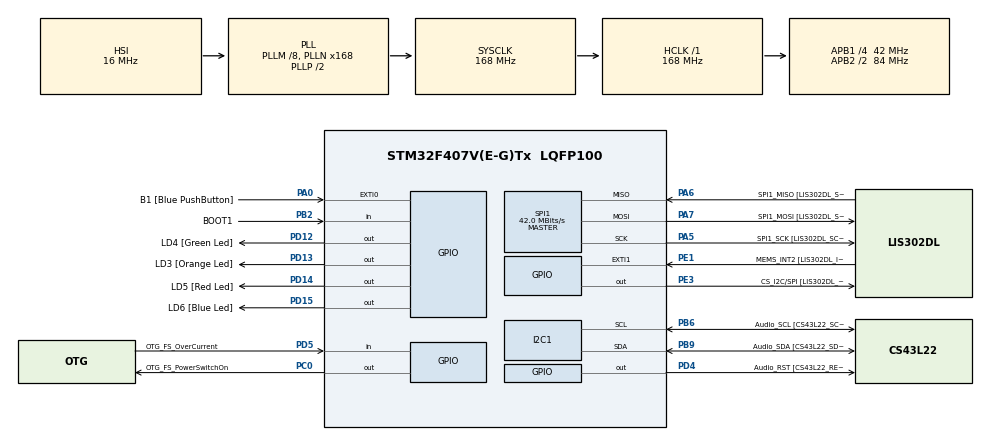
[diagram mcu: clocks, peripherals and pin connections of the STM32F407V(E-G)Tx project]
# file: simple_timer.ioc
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Mcu.Family=STM32F4
Mcu.Name=STM32F407V(E-G)Tx
Mcu.Package=LQFP100
NVIC.PriorityGroup=NVIC_PRIORITYGROUP_0
NVIC.TIM6_DAC_IRQn=true\:0\:0\:false\:false\:true\:true
PA0-WKUP.GPIO_Label=B1 [Blue PushButton]
PA0-WKUP.Signal=GPXTI0
PA10.GPIO_Label=OTG_FS_ID
PA10.GPIO_Mode=GPIO_MODE_AF_PP
PA10.GPIO_PuPd=GPIO_NOPULL
PA10.GPIO_Speed=GPIO_SPEED_FREQ_LOW
PA10.Signal=USB_OTG_FS_ID
PA11.GPIO_Label=OTG_FS_DM
PA11.GPIO_Mode=GPIO_MODE_AF_PP
PA11.GPIO_PuPd=GPIO_NOPULL
PA11.GPIO_Speed=GPIO_SPEED_FREQ_LOW
PA11.Signal=USB_OTG_FS_DM
PA12.GPIO_Label=OTG_FS_DP
PA12.GPIO_Mode=GPIO_MODE_AF_PP
PA12.GPIO_PuPd=GPIO_NOPULL
PA12.GPIO_Speed=GPIO_SPEED_FREQ_LOW
PA12.Signal=USB_OTG_FS_DP
PA13.GPIO_Label=SWDIO
PA13.Signal=SYS_JTMS-SWDIO
PA14.GPIO_Label=SWCLK
PA14.Signal=SYS_JTCK-SWCLK
PA4.GPIO_Label=I2S3_WS [CS43L22_LRCK]
PA4.GPIO_Mode=GPIO_MODE_AF_PP
PA4.GPIO_PuPd=GPIO_NOPULL
PA4.GPIO_Speed=GPIO_SPEED_FREQ_LOW
PA4.Signal=I2S3_WS
PA5.GPIO_Label=SPI1_SCK [LIS302DL_SCL/SPC]
PA5.GPIO_Mode=GPIO_MODE_AF_PP
PA5.GPIO_PuPd=GPIO_NOPULL
PA5.GPIO_Speed=GPIO_SPEED_FREQ_LOW
PA5.Mode=Full_Duplex_Master
PA5.Signal=SPI1_SCK
PA6.GPIO_Label=SPI1_MISO [LIS302DL_SDO]
PA6.GPIO_Mode=GPIO_MODE_AF_PP
PA6.GPIO_PuPd=GPIO_NOPULL
PA6.GPIO_Speed=GPIO_SPEED_FREQ_LOW
PA6.Mode=Full_Duplex_Master
PA6.Signal=SPI1_MISO
PA7.GPIO_Label=SPI1_MOSI [LIS302DL_SDA/SDI/SDO]
PA7.GPIO_Mode=GPIO_MODE_AF_PP
PA7.GPIO_PuPd=GPIO_NOPULL
PA7.GPIO_Speed=GPIO_SPEED_FREQ_LOW
PA7.Mode=Full_Duplex_Master
PA7.Signal=SPI1_MOSI
PA9.GPIO_Label=VBUS_FS
PA9.GPIO_Mode=GPIO_MODE_INPUT
PA9.GPIO_PuPd=GPIO_NOPULL
PA9.Signal=USB_OTG_FS_VBUS
PB10.GPIO_Label=CLK_IN [MP45DT02_CLK]
PB10.GPIO_Mode=GPIO_MODE_AF_PP
PB10.GPIO_PuPd=GPIO_NOPULL
PB10.GPIO_Speed=GPIO_SPEED_FREQ_LOW
PB10.Signal=I2S2_CK
PB2.GPIO_Label=BOOT1
PB2.GPIO_Mode=GPIO_MODE_INPUT
PB2.GPIO_PuPd=GPIO_NOPULL
PB2.Signal=GPIO_Input
PB3.GPIO_Label=SWO
PB3.Signal=SYS_JTDO-SWO
PB6.GPIO_Label=Audio_SCL [CS43L22_SCL]
PB6.GPIO_Mode=GPIO_MODE_AF_OD
PB6.GPIO_PuPd=GPIO_NOPULL
PB6.GPIO_Speed=GPIO_SPEED_FREQ_LOW
PB6.Mode=I2C
PB6.Signal=I2C1_SCL
PB9.GPIO_Label=Audio_SDA [CS43L22_SDA]
PB9.GPIO_Mode=GPIO_MODE_AF_OD
PB9.GPIO_PuPd=GPIO_NOPULL
PB9.GPIO_Speed=GPIO_SPEED_FREQ_LOW
PB9.Mode=I2C
PB9.Signal=I2C1_SDA
PC0.GPIO_Label=OTG_FS_PowerSwitchOn
PC0.GPIO_PuPd=GPIO_NOPULL
PC0.GPIO_Speed=GPIO_SPEED_FREQ_LOW
PC0.PinState=GPIO_PIN_SET
PC0.Signal=GPIO_Output
PC10.GPIO_Label=I2S3_SCK [CS43L22_SCLK]
PC10.GPIO_Mode=GPIO_MODE_AF_PP
PC10.GPIO_PuPd=GPIO_NOPULL
PC10.GPIO_Speed=GPIO_SPEED_FREQ_LOW
PC10.Signal=I2S3_CK
PC12.GPIO_Label=I2S3_SD [CS43L22_SDIN]
PC12.GPIO_Mode=GPIO_MODE_AF_PP
PC12.GPIO_PuPd=GPIO_NOPULL
PC12.GPIO_Speed=GPIO_SPEED_FREQ_LOW
PC12.Signal=I2S3_SD
PC14-OSC32_IN.GPIO_Label=PC14-OSC32_IN
PC14-OSC32_IN.Signal=RCC_OSC32_IN
PC15-OSC32_OUT.GPIO_Label=PC15-OSC32_OUT
PC15-OSC32_OUT.Signal=RCC_OSC32_OUT
PC3.GPIO_Label=PDM_OUT [MP45DT02_DOUT]
PC3.GPIO_Mode=GPIO_MODE_AF_PP
PC3.GPIO_PuPd=GPIO_NOPULL
PC3.GPIO_Speed=GPIO_SPEED_FREQ_LOW
PC3.Signal=I2S2_SD
PC7.GPIO_Label=I2S3_MCK [CS43L22_MCLK]
PC7.GPIO_Mode=GPIO_MODE_AF_PP
PC7.GPIO_PuPd=GPIO_NOPULL
PC7.GPIO_Speed=GPIO_SPEED_FREQ_LOW
PC7.Signal=I2S3_MCK
PD12.GPIO_Label=LD4 [Green Led]
PD12.GPIO_PuPd=GPIO_NOPULL
PD12.GPIO_Speed=GPIO_SPEED_FREQ_LOW
PD12.Signal=GPIO_Output
PD13.GPIO_Label=LD3 [Orange Led]
PD13.GPIO_PuPd=GPIO_NOPULL
PD13.GPIO_Speed=GPIO_SPEED_FREQ_LOW
PD13.Signal=GPIO_Output
PD14.GPIO_Label=LD5 [Red Led]
PD14.GPIO_PuPd=GPIO_NOPULL
PD14.GPIO_Speed=GPIO_SPEED_FREQ_LOW
PD14.Signal=GPIO_Output
PD15.GPIO_Label=LD6 [Blue Led]
PD15.GPIO_PuPd=GPIO_NOPULL
PD15.GPIO_Speed=GPIO_SPEED_FREQ_LOW
PD15.Signal=GPIO_Output
PD4.GPIO_Label=Audio_RST [CS43L22_RESET]
PD4.GPIO_PuPd=GPIO_NOPULL
PD4.GPIO_Speed=GPIO_SPEED_FREQ_LOW
PD4.Signal=GPIO_Output
PD5.GPIO_Label=OTG_FS_OverCurrent
PD5.GPIO_Mode=GPIO_MODE_INPUT
PD5.GPIO_PuPd=GPIO_NOPULL
PD5.Signal=GPIO_Input
PE1.GPIO_Label=MEMS_INT2 [LIS302DL_INT2]
PE1.GPIO_ModeDefaultEXTI=GPIO_MODE_EVT_RISING
PE1.GPIO_PuPd=GPIO_NOPULL
PE1.Signal=GPXTI1
PE3.GPIO_Label=CS_I2C/SPI [LIS302DL_CS_I2C/SPI]
PE3.GPIO_PuPd=GPIO_NOPULL
PE3.GPIO_Speed=GPIO_SPEED_FREQ_LOW
PE3.Signal=GPIO_Output
PH0-OSC_IN.GPIO_Label=PH0-OSC_IN
PH0-OSC_IN.Signal=RCC_OSC_IN
PH1-OSC_OUT.GPIO_Label=PH1-OSC_OUT
PH1-OSC_OUT.Signal=RCC_OSC_OUT
ProjectManager.HeapSize=0x200
ProjectManager.StackSize=0x400
ProjectManager.TargetToolchain=SW4STM32
RCC.48MHZClocksFreq_Value=48000000
RCC.AHBFreq_Value=168000000
RCC.APB1CLKDivider=RCC_HCLK_DIV4
RCC.APB1Freq_Value=42000000
RCC.APB1TimFreq_Value=84000000
RCC.APB2CLKDivider=RCC_HCLK_DIV2
RCC.APB2Freq_Value=84000000
RCC.APB2TimFreq_Value=168000000
RCC.CortexFreq_Value=168000000
RCC.HCLKFreq_Value=168000000
RCC.HSE_VALUE=8000000
RCC.HSI_VALUE=16000000
RCC.LSE_VALUE=32768
RCC.PLLM=8
RCC.PLLN=168
RCC.PLLQ=7
RCC.SYSCLKFreq_VALUE=168000000
RCC.SYSCLKSource=RCC_SYSCLKSOURCE_PLLCLK
RCC.VCOOutputFreq_Value=336000000
SPI1.CalculateBaudRate=42.0 MBits/s
SPI1.Direction=SPI_DIRECTION_2LINES
SPI1.Mode=SPI_MODE_MASTER
SPI1.VirtualType=VM_MASTER
VP_TIM6_VS_ClockSourceINT.Mode=Enable_Timer
board=STM32F4DISCOVERY

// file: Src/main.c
/**
  ******************************************************************************
  * File Name          : main.c
  * Description        : Main program body
  ******************************************************************************
  ** This notice applies to any and all portions of this file
  * that are not between comment pairs USER CODE BEGIN and
  * USER CODE END. Other portions of this file, whether
  * inserted by the user or by software development tools
  * are owned by their respective copyright owners.
  *
  * COPYRIGHT(c) 2017 STMicroelectronics
  *
  * Redistribution and use in source and binary forms, with or without modification,
  * are permitted provided that the following conditions are met:
  *   1. Redistributions of source code must retain the above copyright notice,
  *      this list of conditions and the following disclaimer.
  *   2. Redistributions in binary form must reproduce the above copyright notice,
  *      this list of conditions and the following disclaimer in the documentation
  *      and/or other materials provided with the distribution.
  *   3. Neither the name of STMicroelectronics nor the names of its contributors
  *      may be used to endorse or promote products derived from this software
  *      without specific prior written permission.
  *
  * THIS SOFTWARE IS PROVIDED BY THE COPYRIGHT HOLDERS AND CONTRIBUTORS "AS IS"
  * AND ANY EXPRESS OR IMPLIED WARRANTIES, INCLUDING, BUT NOT LIMITED TO, THE
  * IMPLIED WARRANTIES OF MERCHANTABILITY AND FITNESS FOR A PARTICULAR PURPOSE ARE
  * DISCLAIMED. IN NO EVENT SHALL THE COPYRIGHT HOLDER OR CONTRIBUTORS BE LIABLE
  * FOR ANY DIRECT, INDIRECT, INCIDENTAL, SPECIAL, EXEMPLARY, OR CONSEQUENTIAL
  * DAMAGES (INCLUDING, BUT NOT LIMITED TO, PROCUREMENT OF SUBSTITUTE GOODS OR
  * SERVICES; LOSS OF USE, DATA, OR PROFITS; OR BUSINESS INTERRUPTION) HOWEVER
  * CAUSED AND ON ANY THEORY OF LIABILITY, WHETHER IN CONTRACT, STRICT LIABILITY,
  * OR TORT (INCLUDING NEGLIGENCE OR OTHERWISE) ARISING IN ANY WAY OUT OF THE USE
  * OF THIS SOFTWARE, EVEN IF ADVISED OF THE POSSIBILITY OF SUCH DAMAGE.
  *
  ******************************************************************************
  */

#include "main.h"
#include "stm32f4xx_hal.h"
#include "stm32f4_discovery.h"

I2C_HandleTypeDef hi2c1;

SPI_HandleTypeDef hspi1;

TIM_HandleTypeDef htim6;

/* USER CODE BEGIN PV */
/* Private variables ---------------------------------------------------------*/

/* USER CODE END PV */

void SystemClock_Config(void);
static void MX_GPIO_Init(void);
static void MX_TIM6_Init(void);
static void MX_I2C1_Init(void);
static void MX_SPI1_Init(void);

/* USER CODE BEGIN PFP */
/* Private function prototypes -----------------------------------------------*/

/* USER CODE END PFP */

/* USER CODE BEGIN 0 */
void HAL_TIM_PeriodElapsedCallback(TIM_HandleTypeDef *htim){
	BSP_LED_Toggle(LED3);
	return;
}
/* USER CODE END 0 */

int main(void)
{

  /* MCU Configuration----------------------------------------------------------*/

  /* Reset of all peripherals, Initializes the Flash interface and the Systick. */
  HAL_Init();

  /* Configure the system clock */
  SystemClock_Config();

  /* Initialize all configured peripherals */
  MX_GPIO_Init();
  MX_TIM6_Init();
  MX_I2C1_Init();
  MX_SPI1_Init();

  /* USER CODE BEGIN 2 */
  BSP_LED_Init(LED3);
  BSP_LED_Init(LED4);
  BSP_LED_Init(LED5);
  BSP_LED_Init(LED6);

  BSP_LED_Off(LED3);
  BSP_LED_Off(LED4);
  BSP_LED_Off(LED5);
  BSP_LED_Off(LED6);
  /* USER CODE END 2 */

  /* Infinite loop */
  /* USER CODE BEGIN WHILE */
  htim6.Init.Prescaler =  (uint32_t) (SystemCoreClock / 10000) - 1;
  htim6.Init.CounterMode = TIM_COUNTERMODE_UP;
  htim6.Init.Period = 16800000/2;
  htim6.Init.ClockDivision =  TIM_CLOCKDIVISION_DIV1;
  htim6.Channel = HAL_TIM_ACTIVE_CHANNEL_CLEARED;
  htim6.hdma[0] = NULL;
  htim6.State = HAL_TIM_STATE_RESET;
  HAL_TIM_Base_Init(&htim6);
  HAL_TIM_Base_Start_IT(&htim6);

  while (1)
  {
  /* USER CODE END WHILE */

  }

}

/** System Clock Configuration
*/
void SystemClock_Config(void)
{

  RCC_OscInitTypeDef RCC_OscInitStruct;
  RCC_ClkInitTypeDef RCC_ClkInitStruct;

    /**Configure the main internal regulator output voltage
    */
  __HAL_RCC_PWR_CLK_ENABLE();

  __HAL_PWR_VOLTAGESCALING_CONFIG(PWR_REGULATOR_VOLTAGE_SCALE1);

    /**Initializes the CPU, AHB and APB busses clocks
    */
  RCC_OscInitStruct.OscillatorType = RCC_OSCILLATORTYPE_HSI;
  RCC_OscInitStruct.HSIState = RCC_HSI_ON;
  RCC_OscInitStruct.HSICalibrationValue = 16;
  RCC_OscInitStruct.PLL.PLLState = RCC_PLL_ON;
  RCC_OscInitStruct.PLL.PLLSource = RCC_PLLSOURCE_HSI;
  RCC_OscInitStruct.PLL.PLLM = 8;
  RCC_OscInitStruct.PLL.PLLN = 168;
  RCC_OscInitStruct.PLL.PLLP = RCC_PLLP_DIV2;
  RCC_OscInitStruct.PLL.PLLQ = 7;
  if (HAL_RCC_OscConfig(&RCC_OscInitStruct) != HAL_OK)
  {
    _Error_Handler(__FILE__, __LINE__);
  }

    /**Initializes the CPU, AHB and APB busses clocks
    */
  RCC_ClkInitStruct.ClockType = RCC_CLOCKTYPE_HCLK|RCC_CLOCKTYPE_SYSCLK
                              |RCC_CLOCKTYPE_PCLK1|RCC_CLOCKTYPE_PCLK2;
  RCC_ClkInitStruct.SYSCLKSource = RCC_SYSCLKSOURCE_PLLCLK;
  RCC_ClkInitStruct.AHBCLKDivider = RCC_SYSCLK_DIV1;
  RCC_ClkInitStruct.APB1CLKDivider = RCC_HCLK_DIV4;
  RCC_ClkInitStruct.APB2CLKDivider = RCC_HCLK_DIV2;

  if (HAL_RCC_ClockConfig(&RCC_ClkInitStruct, FLASH_LATENCY_5) != HAL_OK)
  {
    _Error_Handler(__FILE__, __LINE__);
  }

    /**Configure the Systick interrupt time
    */
  HAL_SYSTICK_Config(HAL_RCC_GetHCLKFreq()/1000);

    /**Configure the Systick
    */
  HAL_SYSTICK_CLKSourceConfig(SYSTICK_CLKSOURCE_HCLK);

  /* SysTick_IRQn interrupt configuration */
  HAL_NVIC_SetPriority(SysTick_IRQn, 0, 0);
}

/* I2C1 init function */
static void MX_I2C1_Init(void)
{

  hi2c1.Instance = I2C1;
  hi2c1.Init.ClockSpeed = 100000;
  hi2c1.Init.DutyCycle = I2C_DUTYCYCLE_2;
  hi2c1.Init.OwnAddress1 = 0;
  hi2c1.Init.AddressingMode = I2C_ADDRESSINGMODE_7BIT;
  hi2c1.Init.DualAddressMode = I2C_DUALADDRESS_DISABLE;
  hi2c1.Init.OwnAddress2 = 0;
  hi2c1.Init.GeneralCallMode = I2C_GENERALCALL_DISABLE;
  hi2c1.Init.NoStretchMode = I2C_NOSTRETCH_DISABLE;
  if (HAL_I2C_Init(&hi2c1) != HAL_OK)
  {
    _Error_Handler(__FILE__, __LINE__);
  }

}

/* SPI1 init function */
static void MX_SPI1_Init(void)
{

  /* SPI1 parameter configuration*/
  hspi1.Instance = SPI1;
  hspi1.Init.Mode = SPI_MODE_MASTER;
  hspi1.Init.Direction = SPI_DIRECTION_2LINES;
  hspi1.Init.DataSize = SPI_DATASIZE_8BIT;
  hspi1.Init.CLKPolarity = SPI_POLARITY_LOW;
  hspi1.Init.CLKPhase = SPI_PHASE_1EDGE;
  hspi1.Init.NSS = SPI_NSS_SOFT;
  hspi1.Init.BaudRatePrescaler = SPI_BAUDRATEPRESCALER_2;
  hspi1.Init.FirstBit = SPI_FIRSTBIT_MSB;
  hspi1.Init.TIMode = SPI_TIMODE_DISABLE;
  hspi1.Init.CRCCalculation = SPI_CRCCALCULATION_DISABLE;
  hspi1.Init.CRCPolynomial = 10;
  if (HAL_SPI_Init(&hspi1) != HAL_OK)
  {
    _Error_Handler(__FILE__, __LINE__);
  }

}

/* TIM6 init function */
static void MX_TIM6_Init(void)
{

  TIM_MasterConfigTypeDef sMasterConfig;

  htim6.Instance = TIM6;
  htim6.Init.Prescaler = 0;
  htim6.Init.CounterMode = TIM_COUNTERMODE_UP;
  htim6.Init.Period = 0;
  if (HAL_TIM_Base_Init(&htim6) != HAL_OK)
  {
    _Error_Handler(__FILE__, __LINE__);
  }

  sMasterConfig.MasterOutputTrigger = TIM_TRGO_RESET;
  sMasterConfig.MasterSlaveMode = TIM_MASTERSLAVEMODE_DISABLE;
  if (HAL_TIMEx_MasterConfigSynchronization(&htim6, &sMasterConfig) != HAL_OK)
  {
    _Error_Handler(__FILE__, __LINE__);
  }

}

/** Configure pins as
        * Analog
        * Input
        * Output
        * EVENT_OUT
        * EXTI
     PC3   ------> I2S2_SD
     PA4   ------> I2S3_WS
     PB10   ------> I2S2_CK
     PC7   ------> I2S3_MCK
     PA9   ------> USB_OTG_FS_VBUS
     PA10   ------> USB_OTG_FS_ID
     PA11   ------> USB_OTG_FS_DM
     PA12   ------> USB_OTG_FS_DP
     PC10   ------> I2S3_CK
     PC12   ------> I2S3_SD
*/
static void MX_GPIO_Init(void)
{

  GPIO_InitTypeDef GPIO_InitStruct;

  /* GPIO Ports Clock Enable */
  __HAL_RCC_GPIOE_CLK_ENABLE();
  __HAL_RCC_GPIOC_CLK_ENABLE();
  __HAL_RCC_GPIOH_CLK_ENABLE();
  __HAL_RCC_GPIOA_CLK_ENABLE();
  __HAL_RCC_GPIOB_CLK_ENABLE();
  __HAL_RCC_GPIOD_CLK_ENABLE();

  /*Configure GPIO pin Output Level */
  HAL_GPIO_WritePin(CS_I2C_SPI_GPIO_Port, CS_I2C_SPI_Pin, GPIO_PIN_RESET);

  /*Configure GPIO pin Output Level */
  HAL_GPIO_WritePin(OTG_FS_PowerSwitchOn_GPIO_Port, OTG_FS_PowerSwitchOn_Pin, GPIO_PIN_SET);

  /*Configure GPIO pin Output Level */
  HAL_GPIO_WritePin(GPIOD, LD4_Pin|LD3_Pin|LD5_Pin|LD6_Pin
                          |Audio_RST_Pin, GPIO_PIN_RESET);

  /*Configure GPIO pin : CS_I2C_SPI_Pin */
  GPIO_InitStruct.Pin = CS_I2C_SPI_Pin;
  GPIO_InitStruct.Mode = GPIO_MODE_OUTPUT_PP;
  GPIO_InitStruct.Pull = GPIO_NOPULL;
  GPIO_InitStruct.Speed = GPIO_SPEED_FREQ_LOW;
  HAL_GPIO_Init(CS_I2C_SPI_GPIO_Port, &GPIO_InitStruct);

  /*Configure GPIO pin : OTG_FS_PowerSwitchOn_Pin */
  GPIO_InitStruct.Pin = OTG_FS_PowerSwitchOn_Pin;
  GPIO_InitStruct.Mode = GPIO_MODE_OUTPUT_PP;
  GPIO_InitStruct.Pull = GPIO_NOPULL;
  GPIO_InitStruct.Speed = GPIO_SPEED_FREQ_LOW;
  HAL_GPIO_Init(OTG_FS_PowerSwitchOn_GPIO_Port, &GPIO_InitStruct);

  /*Configure GPIO pin : PDM_OUT_Pin */
  GPIO_InitStruct.Pin = PDM_OUT_Pin;
  GPIO_InitStruct.Mode = GPIO_MODE_AF_PP;
  GPIO_InitStruct.Pull = GPIO_NOPULL;
  GPIO_InitStruct.Speed = GPIO_SPEED_FREQ_LOW;
  GPIO_InitStruct.Alternate = GPIO_AF5_SPI2;
  HAL_GPIO_Init(PDM_OUT_GPIO_Port, &GPIO_InitStruct);

  /*Configure GPIO pin : B1_Pin */
  GPIO_InitStruct.Pin = B1_Pin;
  GPIO_InitStruct.Mode = GPIO_MODE_IT_RISING;
  GPIO_InitStruct.Pull = GPIO_NOPULL;
  HAL_GPIO_Init(B1_GPIO_Port, &GPIO_InitStruct);

  /*Configure GPIO pin : I2S3_WS_Pin */
  GPIO_InitStruct.Pin = I2S3_WS_Pin;
  GPIO_InitStruct.Mode = GPIO_MODE_AF_PP;
  GPIO_InitStruct.Pull = GPIO_NOPULL;
  GPIO_InitStruct.Speed = GPIO_SPEED_FREQ_LOW;
  GPIO_InitStruct.Alternate = GPIO_AF6_SPI3;
  HAL_GPIO_Init(I2S3_WS_GPIO_Port, &GPIO_InitStruct);

  /*Configure GPIO pin : BOOT1_Pin */
  GPIO_InitStruct.Pin = BOOT1_Pin;
  GPIO_InitStruct.Mode = GPIO_MODE_INPUT;
  GPIO_InitStruct.Pull = GPIO_NOPULL;
  HAL_GPIO_Init(BOOT1_GPIO_Port, &GPIO_InitStruct);

  /*Configure GPIO pin : CLK_IN_Pin */
  GPIO_InitStruct.Pin = CLK_IN_Pin;
  GPIO_InitStruct.Mode = GPIO_MODE_AF_PP;
  GPIO_InitStruct.Pull = GPIO_NOPULL;
  GPIO_InitStruct.Speed = GPIO_SPEED_FREQ_LOW;
  GPIO_InitStruct.Alternate = GPIO_AF5_SPI2;
  HAL_GPIO_Init(CLK_IN_GPIO_Port, &GPIO_InitStruct);

  /*Configure GPIO pins : LD4_Pin LD3_Pin LD5_Pin LD6_Pin
                           Audio_RST_Pin */
  GPIO_InitStruct.Pin = LD4_Pin|LD3_Pin|LD5_Pin|LD6_Pin
                          |Audio_RST_Pin;
  GPIO_InitStruct.Mode = GPIO_MODE_OUTPUT_PP;
  GPIO_InitStruct.Pull = GPIO_NOPULL;
  GPIO_InitStruct.Speed = GPIO_SPEED_FREQ_LOW;
  HAL_GPIO_Init(GPIOD, &GPIO_InitStruct);

  /*Configure GPIO pins : I2S3_MCK_Pin I2S3_SCK_Pin I2S3_SD_Pin */
  GPIO_InitStruct.Pin = I2S3_MCK_Pin|I2S3_SCK_Pin|I2S3_SD_Pin;
  GPIO_InitStruct.Mode = GPIO_MODE_AF_PP;
  GPIO_InitStruct.Pull = GPIO_NOPULL;
  GPIO_InitStruct.Speed = GPIO_SPEED_FREQ_LOW;
  GPIO_InitStruct.Alternate = GPIO_AF6_SPI3;
  HAL_GPIO_Init(GPIOC, &GPIO_InitStruct);

  /*Configure GPIO pin : VBUS_FS_Pin */
  GPIO_InitStruct.Pin = VBUS_FS_Pin;
  GPIO_InitStruct.Mode = GPIO_MODE_INPUT;
  GPIO_InitStruct.Pull = GPIO_NOPULL;
  HAL_GPIO_Init(VBUS_FS_GPIO_Port, &GPIO_InitStruct);

  /*Configure GPIO pins : OTG_FS_ID_Pin OTG_FS_DM_Pin OTG_FS_DP_Pin */
  GPIO_InitStruct.Pin = OTG_FS_ID_Pin|OTG_FS_DM_Pin|OTG_FS_DP_Pin;
  GPIO_InitStruct.Mode = GPIO_MODE_AF_PP;
  GPIO_InitStruct.Pull = GPIO_NOPULL;
  GPIO_InitStruct.Speed = GPIO_SPEED_FREQ_LOW;
  GPIO_InitStruct.Alternate = GPIO_AF10_OTG_FS;
  HAL_GPIO_Init(GPIOA, &GPIO_InitStruct);

  /*Configure GPIO pin : OTG_FS_OverCurrent_Pin */
  GPIO_InitStruct.Pin = OTG_FS_OverCurrent_Pin;
  GPIO_InitStruct.Mode = GPIO_MODE_INPUT;
  GPIO_InitStruct.Pull = GPIO_NOPULL;
  HAL_GPIO_Init(OTG_FS_OverCurrent_GPIO_Port, &GPIO_InitStruct);

  /*Configure GPIO pin : MEMS_INT2_Pin */
  GPIO_InitStruct.Pin = MEMS_INT2_Pin;
  GPIO_InitStruct.Mode = GPIO_MODE_EVT_RISING;
  GPIO_InitStruct.Pull = GPIO_NOPULL;
  HAL_GPIO_Init(MEMS_INT2_GPIO_Port, &GPIO_InitStruct);

}

void _Error_Handler(char * file, int line)
{
  while(1)
  {
  }
}

/************************ (C) COPYRIGHT STMicroelectronics *****END OF FILE****/
